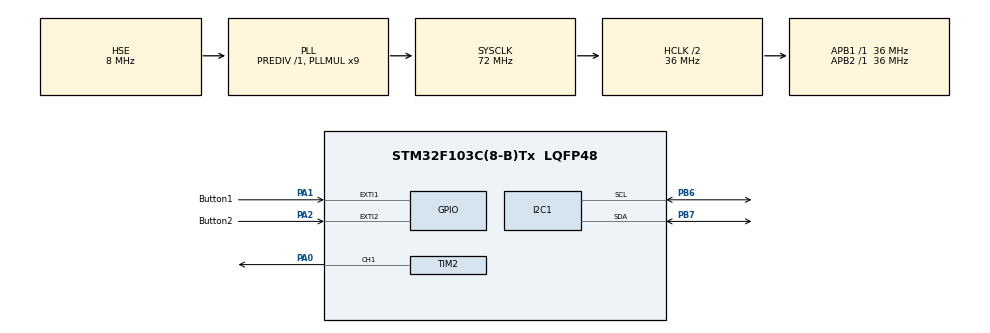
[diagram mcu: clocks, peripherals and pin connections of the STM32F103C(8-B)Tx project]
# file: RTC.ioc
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Mcu.Family=STM32F1
Mcu.Name=STM32F103C(8-B)Tx
Mcu.Package=LQFP48
NVIC.EXTI1_IRQn=true\:0\:0\:false\:false\:true\:true\:true\:true
NVIC.EXTI2_IRQn=true\:0\:0\:false\:false\:true\:true\:true\:true
NVIC.PriorityGroup=NVIC_PRIORITYGROUP_4
NVIC.RTC_IRQn=true\:0\:0\:false\:false\:true\:true\:true\:true
NVIC.TIM1_UP_IRQn=true\:0\:0\:false\:false\:true\:true\:true\:true
NVIC.TIM3_IRQn=true\:0\:0\:false\:false\:true\:true\:true\:true
NVIC.TIM4_IRQn=true\:0\:0\:false\:false\:true\:true\:true\:true
PA0-WKUP.Signal=S_TIM2_CH1_ETR
PA1.GPIO_Label=Button1
PA1.GPIO_ModeDefaultEXTI=GPIO_MODE_IT_FALLING
PA1.GPIO_PuPd=GPIO_PULLUP
PA1.Signal=GPXTI1
PA13.Mode=Serial_Wire
PA13.Signal=SYS_JTMS-SWDIO
PA14.Mode=Serial_Wire
PA14.Signal=SYS_JTCK-SWCLK
PA2.GPIO_Label=Button2
PA2.GPIO_ModeDefaultEXTI=GPIO_MODE_IT_FALLING
PA2.GPIO_PuPd=GPIO_PULLUP
PA2.Signal=GPXTI2
PB6.Mode=I2C
PB6.Signal=I2C1_SCL
PB7.Mode=I2C
PB7.Signal=I2C1_SDA
PC14-OSC32_IN.Mode=LSE-External-Oscillator
PC14-OSC32_IN.Signal=RCC_OSC32_IN
PC15-OSC32_OUT.Mode=LSE-External-Oscillator
PC15-OSC32_OUT.Signal=RCC_OSC32_OUT
PD0-OSC_IN.Mode=HSE-External-Oscillator
PD0-OSC_IN.Signal=RCC_OSC_IN
PD1-OSC_OUT.Mode=HSE-External-Oscillator
PD1-OSC_OUT.Signal=RCC_OSC_OUT
ProjectManager.HeapSize=0x200
ProjectManager.StackSize=0x400
ProjectManager.TargetToolchain=STM32CubeIDE
RCC.AHBCLKDivider=RCC_SYSCLK_DIV2
RCC.AHBFreq_Value=36000000
RCC.APB1Freq_Value=36000000
RCC.APB1TimFreq_Value=36000000
RCC.APB2Freq_Value=36000000
RCC.APB2TimFreq_Value=36000000
RCC.HCLKFreq_Value=36000000
RCC.PLLMUL=RCC_PLL_MUL9
RCC.PLLSourceVirtual=RCC_PLLSOURCE_HSE
RCC.RTCClockSelection=RCC_RTCCLKSOURCE_LSE
RCC.SYSCLKFreq_VALUE=72000000
RCC.SYSCLKSource=RCC_SYSCLKSOURCE_PLLCLK
RCC.USBFreq_Value=72000000
RTC.Format=RTC_FORMAT_BIN
SH.S_TIM2_CH1_ETR.0=TIM2_CH1,PWM Generation1 CH1
TIM1.Period=250
TIM1.Prescaler=36000
TIM2.Channel-PWM\ Generation1\ CH1=TIM_CHANNEL_1
TIM2.Period=9024
TIM2.Pulse-PWM\ Generation1\ CH1=4500
TIM3.Period=500
TIM3.Prescaler=3600
TIM4.Period=50
TIM4.Prescaler=36000
VP_RTC_VS_RTC_Activate.Mode=RTC_Enabled
VP_TIM1_VS_ClockSourceINT.Mode=Internal
VP_TIM2_VS_ClockSourceINT.Mode=Internal
VP_TIM3_VS_ClockSourceINT.Mode=Internal
VP_TIM4_VS_ClockSourceINT.Mode=Internal
board=custom

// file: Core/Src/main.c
/* USER CODE BEGIN Header */
/**
  ******************************************************************************
  * @file           : main.c
  * @brief          : Main program body
  ******************************************************************************
  * @attention
  *
  * Copyright (c) 2024 STMicroelectronics.
  * All rights reserved.
  *
  * This software is licensed under terms that can be found in the LICENSE file
  * in the root directory of this software component.
  * If no LICENSE file comes with this software, it is provided AS-IS.
  *
  ******************************************************************************
  */
/* USER CODE END Header */
#include "main.h"

/* USER CODE BEGIN Includes */

#include "lcd1602.h"
#include "menu.h"
#include "stdio.h"
#include "debounce.h"
#include "alarm.h"
/* USER CODE END Includes */

I2C_HandleTypeDef hi2c1;

RTC_HandleTypeDef hrtc;

TIM_HandleTypeDef htim1;
TIM_HandleTypeDef htim2;
TIM_HandleTypeDef htim3;
TIM_HandleTypeDef htim4;

/* USER CODE BEGIN PV */

struct buttons button1 = {Button1_Pin, Button1_GPIO_Port, false, EXTI_FTSR_TR1, EXTI_RTSR_TR1, false, false};
struct buttons button2 = {Button2_Pin, Button2_GPIO_Port, false, EXTI_FTSR_TR2, EXTI_RTSR_TR2, false, false};

extern alarmSettings alarm;

uint8_t menuCounter = 0;

volatile uint8_t buttonType = 0;
volatile bool updateByNewMinute = true;
bool updateByEvent = false;
bool startSetting = 0;

extern RTC_TimeTypeDef sTime;
extern bool timeSettingValueFlag;

/* USER CODE END PV */

void SystemClock_Config(void);
static void MX_GPIO_Init(void);
static void MX_I2C1_Init(void);
static void MX_RTC_Init(void);
static void MX_TIM3_Init(void);
static void MX_TIM1_Init(void);
static void MX_TIM2_Init(void);
static void MX_TIM4_Init(void);

/* USER CODE BEGIN 0 */
void HAL_RTCEx_RTCEventCallback(RTC_HandleTypeDef *hrtc)
{
	HAL_RTC_GetTime(hrtc, &sTime, RTC_FORMAT_BIN);
	if(sTime.Seconds == 0)
	{
		updateByNewMinute = true;
	}

}

void HAL_GPIO_EXTI_Callback(uint16_t GPIO_Pin)
{
	if(GPIO_Pin == GPIO_PIN_1) //== button1.pin)
	{
		buttonType = 1;
		callBackButton(&button1);
	}

	else if(GPIO_Pin == GPIO_PIN_2)
	{
		buttonType = 2;
		callBackButton(&button2);
	}

	else
	{
		__NOP();
	}

}

/* USER CODE END 0 */

int main(void)
{

  /* MCU Configuration--------------------------------------------------------*/

  /* Reset of all peripherals, Initializes the Flash interface and the Systick. */
  HAL_Init();

  /* Configure the system clock */
  SystemClock_Config();

  /* USER CODE BEGIN SysInit */
  getAlarm();
  /* USER CODE END SysInit */

  /* Initialize all configured peripherals */
  MX_GPIO_Init();
  MX_I2C1_Init();
  MX_RTC_Init();
  MX_TIM3_Init();
  MX_TIM1_Init();
  MX_TIM2_Init();
  MX_TIM4_Init();
  /* USER CODE BEGIN 2 */

  	HAL_Delay(100);
  	lcd1602_Init();
  	initNewSymbols();
  	HAL_RTCEx_SetSecond_IT(&hrtc);
  	 __HAL_TIM_CLEAR_FLAG(&htim1, TIM_SR_UIF); // очищаем флаг

  	//showMainPage();
  /* USER CODE END 2 */

  /* Infinite loop */
  /* USER CODE BEGIN WHILE */
  while (1)
  {
	  if(updateByNewMinute == true || updateByEvent == true)
	  {
		  if(menuCounter == 0)
		  {
			  showMainPage();
//			  if(button2.shortFlag == true)
//			  {
//				  alarm.enable = !alarm.enable;
//				  button2.shortFlag = false;
//			  }
//			  if(alarm.enable == true)
//				  startAlarm();
		  }
		  else if(menuCounter == 1)
		  {
			  if(button1.longFlag == true )
			  {
				  startSetting = !startSetting;
				  button1.longFlag = false;
				  timeSettingValueFlag = false;
			  }
			  if(startSetting == true)
			  {
				  startTim1ForBlinkValue();
				  chooseSettingValue();
			  }

			  else
			  {
				  HAL_TIM_Base_Stop_IT(&htim1);
				  setTimeMenu(4,1);
			  }
		  }
		  else if(menuCounter == 2)
		  {
			  setAlarmMenu();
		  }

		  updateByNewMinute = false;
		  updateByEvent = false;
	  }
	  if(button1.shortFlag == true && startSetting == false)
	  {
		  menuCounter++;
		  if(menuCounter > 2) menuCounter = 0;
		  button1.shortFlag = false;
		  lcd1602_Clean();
		  updateByEvent = true;
	  }
	  if(button1.buttonPressed == true || button2.buttonPressed == true || button1.longFlag == true )
	  {
		  updateByEvent = true;
	  }
//	  if(button1.longFlag == true)
//	  {
//		  startSetting = !startSetting;
//		  button1.longFlag = false;
//	  }

    /* USER CODE END WHILE */

  }
}

void SystemClock_Config(void)
{
  RCC_OscInitTypeDef RCC_OscInitStruct = {0};
  RCC_ClkInitTypeDef RCC_ClkInitStruct = {0};
  RCC_PeriphCLKInitTypeDef PeriphClkInit = {0};

  /** Initializes the RCC Oscillators according to the specified parameters
  * in the RCC_OscInitTypeDef structure.
  */
  RCC_OscInitStruct.OscillatorType = RCC_OSCILLATORTYPE_HSE|RCC_OSCILLATORTYPE_LSE;
  RCC_OscInitStruct.HSEState = RCC_HSE_ON;
  RCC_OscInitStruct.HSEPredivValue = RCC_HSE_PREDIV_DIV1;
  RCC_OscInitStruct.LSEState = RCC_LSE_ON;
  RCC_OscInitStruct.HSIState = RCC_HSI_ON;
  RCC_OscInitStruct.PLL.PLLState = RCC_PLL_ON;
  RCC_OscInitStruct.PLL.PLLSource = RCC_PLLSOURCE_HSE;
  RCC_OscInitStruct.PLL.PLLMUL = RCC_PLL_MUL9;
  if (HAL_RCC_OscConfig(&RCC_OscInitStruct) != HAL_OK)
  {
    Error_Handler();
  }

  /** Initializes the CPU, AHB and APB buses clocks
  */
  RCC_ClkInitStruct.ClockType = RCC_CLOCKTYPE_HCLK|RCC_CLOCKTYPE_SYSCLK
                              |RCC_CLOCKTYPE_PCLK1|RCC_CLOCKTYPE_PCLK2;
  RCC_ClkInitStruct.SYSCLKSource = RCC_SYSCLKSOURCE_PLLCLK;
  RCC_ClkInitStruct.AHBCLKDivider = RCC_SYSCLK_DIV2;
  RCC_ClkInitStruct.APB1CLKDivider = RCC_HCLK_DIV1;
  RCC_ClkInitStruct.APB2CLKDivider = RCC_HCLK_DIV1;

  if (HAL_RCC_ClockConfig(&RCC_ClkInitStruct, FLASH_LATENCY_2) != HAL_OK)
  {
    Error_Handler();
  }
  PeriphClkInit.PeriphClockSelection = RCC_PERIPHCLK_RTC;
  PeriphClkInit.RTCClockSelection = RCC_RTCCLKSOURCE_LSE;
  if (HAL_RCCEx_PeriphCLKConfig(&PeriphClkInit) != HAL_OK)
  {
    Error_Handler();
  }
}

static void MX_I2C1_Init(void)
{

  hi2c1.Instance = I2C1;
  hi2c1.Init.ClockSpeed = 100000;
  hi2c1.Init.DutyCycle = I2C_DUTYCYCLE_2;
  hi2c1.Init.OwnAddress1 = 0;
  hi2c1.Init.AddressingMode = I2C_ADDRESSINGMODE_7BIT;
  hi2c1.Init.DualAddressMode = I2C_DUALADDRESS_DISABLE;
  hi2c1.Init.OwnAddress2 = 0;
  hi2c1.Init.GeneralCallMode = I2C_GENERALCALL_DISABLE;
  hi2c1.Init.NoStretchMode = I2C_NOSTRETCH_DISABLE;
  if (HAL_I2C_Init(&hi2c1) != HAL_OK)
  {
    Error_Handler();
  }

}

static void MX_RTC_Init(void)
{

  /** Initialize RTC Only
  */
  hrtc.Instance = RTC;
  hrtc.Init.AsynchPrediv = RTC_AUTO_1_SECOND;
  hrtc.Init.OutPut = RTC_OUTPUTSOURCE_ALARM;
  if (HAL_RTC_Init(&hrtc) != HAL_OK)
  {
    Error_Handler();
  }

}

static void MX_TIM1_Init(void)
{

  TIM_ClockConfigTypeDef sClockSourceConfig = {0};
  TIM_MasterConfigTypeDef sMasterConfig = {0};

  htim1.Instance = TIM1;
  htim1.Init.Prescaler = 36000;
  htim1.Init.CounterMode = TIM_COUNTERMODE_UP;
  htim1.Init.Period = 250;
  htim1.Init.ClockDivision = TIM_CLOCKDIVISION_DIV1;
  htim1.Init.RepetitionCounter = 0;
  htim1.Init.AutoReloadPreload = TIM_AUTORELOAD_PRELOAD_DISABLE;
  if (HAL_TIM_Base_Init(&htim1) != HAL_OK)
  {
    Error_Handler();
  }
  sClockSourceConfig.ClockSource = TIM_CLOCKSOURCE_INTERNAL;
  if (HAL_TIM_ConfigClockSource(&htim1, &sClockSourceConfig) != HAL_OK)
  {
    Error_Handler();
  }
  sMasterConfig.MasterOutputTrigger = TIM_TRGO_RESET;
  sMasterConfig.MasterSlaveMode = TIM_MASTERSLAVEMODE_DISABLE;
  if (HAL_TIMEx_MasterConfigSynchronization(&htim1, &sMasterConfig) != HAL_OK)
  {
    Error_Handler();
  }

}

static void MX_TIM2_Init(void)
{

  TIM_ClockConfigTypeDef sClockSourceConfig = {0};
  TIM_MasterConfigTypeDef sMasterConfig = {0};
  TIM_OC_InitTypeDef sConfigOC = {0};

  htim2.Instance = TIM2;
  htim2.Init.Prescaler = 0;
  htim2.Init.CounterMode = TIM_COUNTERMODE_UP;
  htim2.Init.Period = 9024;
  htim2.Init.ClockDivision = TIM_CLOCKDIVISION_DIV1;
  htim2.Init.AutoReloadPreload = TIM_AUTORELOAD_PRELOAD_DISABLE;
  if (HAL_TIM_Base_Init(&htim2) != HAL_OK)
  {
    Error_Handler();
  }
  sClockSourceConfig.ClockSource = TIM_CLOCKSOURCE_INTERNAL;
  if (HAL_TIM_ConfigClockSource(&htim2, &sClockSourceConfig) != HAL_OK)
  {
    Error_Handler();
  }
  if (HAL_TIM_PWM_Init(&htim2) != HAL_OK)
  {
    Error_Handler();
  }
  sMasterConfig.MasterOutputTrigger = TIM_TRGO_RESET;
  sMasterConfig.MasterSlaveMode = TIM_MASTERSLAVEMODE_DISABLE;
  if (HAL_TIMEx_MasterConfigSynchronization(&htim2, &sMasterConfig) != HAL_OK)
  {
    Error_Handler();
  }
  sConfigOC.OCMode = TIM_OCMODE_PWM1;
  sConfigOC.Pulse = 4500;
  sConfigOC.OCPolarity = TIM_OCPOLARITY_HIGH;
  sConfigOC.OCFastMode = TIM_OCFAST_DISABLE;
  if (HAL_TIM_PWM_ConfigChannel(&htim2, &sConfigOC, TIM_CHANNEL_1) != HAL_OK)
  {
    Error_Handler();
  }
  HAL_TIM_MspPostInit(&htim2);

}

static void MX_TIM3_Init(void)
{

  TIM_ClockConfigTypeDef sClockSourceConfig = {0};
  TIM_MasterConfigTypeDef sMasterConfig = {0};

  htim3.Instance = TIM3;
  htim3.Init.Prescaler = 3600;
  htim3.Init.CounterMode = TIM_COUNTERMODE_UP;
  htim3.Init.Period = 500;
  htim3.Init.ClockDivision = TIM_CLOCKDIVISION_DIV1;
  htim3.Init.AutoReloadPreload = TIM_AUTORELOAD_PRELOAD_DISABLE;
  if (HAL_TIM_Base_Init(&htim3) != HAL_OK)
  {
    Error_Handler();
  }
  sClockSourceConfig.ClockSource = TIM_CLOCKSOURCE_INTERNAL;
  if (HAL_TIM_ConfigClockSource(&htim3, &sClockSourceConfig) != HAL_OK)
  {
    Error_Handler();
  }
  sMasterConfig.MasterOutputTrigger = TIM_TRGO_RESET;
  sMasterConfig.MasterSlaveMode = TIM_MASTERSLAVEMODE_DISABLE;
  if (HAL_TIMEx_MasterConfigSynchronization(&htim3, &sMasterConfig) != HAL_OK)
  {
    Error_Handler();
  }

}

static void MX_TIM4_Init(void)
{

  TIM_ClockConfigTypeDef sClockSourceConfig = {0};
  TIM_MasterConfigTypeDef sMasterConfig = {0};

  htim4.Instance = TIM4;
  htim4.Init.Prescaler = 36000;
  htim4.Init.CounterMode = TIM_COUNTERMODE_UP;
  htim4.Init.Period = 10;
  htim4.Init.ClockDivision = TIM_CLOCKDIVISION_DIV1;
  htim4.Init.AutoReloadPreload = TIM_AUTORELOAD_PRELOAD_DISABLE;
  if (HAL_TIM_Base_Init(&htim4) != HAL_OK)
  {
    Error_Handler();
  }
  sClockSourceConfig.ClockSource = TIM_CLOCKSOURCE_INTERNAL;
  if (HAL_TIM_ConfigClockSource(&htim4, &sClockSourceConfig) != HAL_OK)
  {
    Error_Handler();
  }
  sMasterConfig.MasterOutputTrigger = TIM_TRGO_RESET;
  sMasterConfig.MasterSlaveMode = TIM_MASTERSLAVEMODE_DISABLE;
  if (HAL_TIMEx_MasterConfigSynchronization(&htim4, &sMasterConfig) != HAL_OK)
  {
    Error_Handler();
  }

}

static void MX_GPIO_Init(void)
{
  GPIO_InitTypeDef GPIO_InitStruct = {0};

  /* GPIO Ports Clock Enable */
  __HAL_RCC_GPIOC_CLK_ENABLE();
  __HAL_RCC_GPIOD_CLK_ENABLE();
  __HAL_RCC_GPIOA_CLK_ENABLE();
  __HAL_RCC_GPIOB_CLK_ENABLE();

  /*Configure GPIO pins : Button1_Pin Button2_Pin */
  GPIO_InitStruct.Pin = Button1_Pin|Button2_Pin;
  GPIO_InitStruct.Mode = GPIO_MODE_IT_FALLING;
  GPIO_InitStruct.Pull = GPIO_PULLUP;
  HAL_GPIO_Init(GPIOA, &GPIO_InitStruct);

  /* EXTI interrupt init*/
  HAL_NVIC_SetPriority(EXTI1_IRQn, 0, 0);
  HAL_NVIC_EnableIRQ(EXTI1_IRQn);

  HAL_NVIC_SetPriority(EXTI2_IRQn, 0, 0);
  HAL_NVIC_EnableIRQ(EXTI2_IRQn);

}

void Error_Handler(void)
{
  __disable_irq();
  while (1)
  {
  }
}
